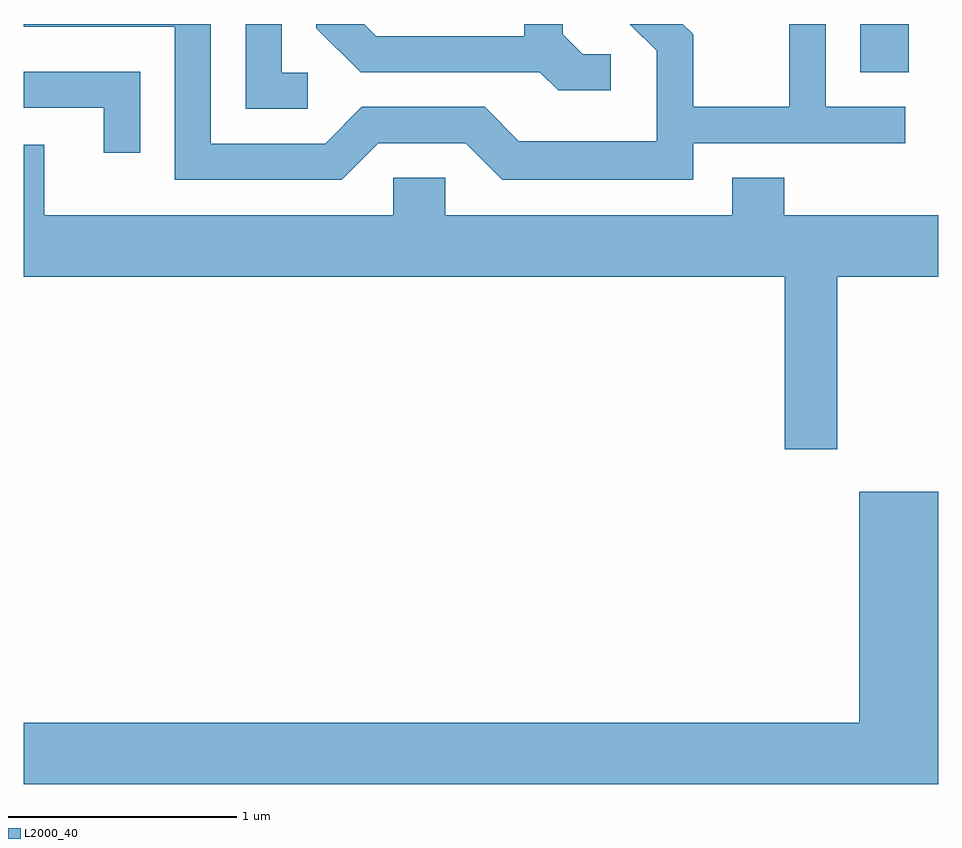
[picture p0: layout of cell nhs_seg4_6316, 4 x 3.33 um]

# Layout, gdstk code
import gdstk
lib = gdstk.Library(unit=1e-6, precision=1e-09)
def R(c, l, rs):  # rectangles x0, y0, x1, y1
    for r in rs: c.add(gdstk.rectangle(r[:2], r[2:], *l))
def P(c, l, *ps):  # polygons
    for p in ps: c.add(gdstk.Polygon(p, *l))
L2000_40 = (2000, 40)

nhs_seg4_6316 = lib.new_cell('nhs_seg4_6316')
R(nhs_seg4_6316, L2000_40, [(373.271,1377.771,373.484,1377.982)])
P(nhs_seg4_6316, L2000_40, [(372.178,1377.849),(372.057,1377.849),(371.969,1377.937),(371.969,1377.982),(371.801,1377.982),(371.801,1377.929),(371.152,1377.929),(371.099,1377.982),(370.891,1377.982),(370.891,1377.964),(371.084,1377.771),(371.869,1377.771),(371.949,1377.691),(372.178,1377.691)],
  [(371.162,1377.461),(371.544,1377.461),(371.704,1377.301),(372.539,1377.301),(372.539,1377.461),(373.468,1377.461),(373.468,1377.619),(373.119,1377.619),(373.119,1377.982),(372.961,1377.982),(372.961,1377.619),(372.539,1377.619),(372.539,1377.937),(372.494,1377.982),(372.263,1377.982),(372.381,1377.864),(372.381,1377.469),(371.777,1377.469),(371.627,1377.619),(371.089,1377.619),(370.929,1377.459),(370.429,1377.459),(370.429,1377.982),(369.611,1377.982),(369.611,1377.971),(370.271,1377.971),(370.271,1377.301),(371.002,1377.301)],
  [(370.853,1377.769),(370.739,1377.769),(370.739,1377.982),(370.581,1377.982),(370.581,1377.611),(370.853,1377.611)],
  [(370.119,1377.774),(369.611,1377.774),(369.611,1377.616),(369.961,1377.616),(369.961,1377.418),(370.119,1377.418)],
  [(373.169,1376.876),(373.611,1376.876),(373.611,1377.144),(372.939,1377.144),(372.939,1377.309),(372.711,1377.309),(372.711,1377.144),(371.454,1377.144),(371.454,1377.309),(371.226,1377.309),(371.226,1377.144),(369.699,1377.144),(369.699,1377.454),(369.611,1377.454),(369.611,1376.876),(372.941,1376.876),(372.941,1376.121),(373.169,1376.121)],
  [(373.611,1375.934),(373.266,1375.934),(373.266,1374.924),(369.611,1374.924),(369.611,1374.656),(373.611,1374.656)])

lib.write_gds('nhs_seg4_6316.gds')
